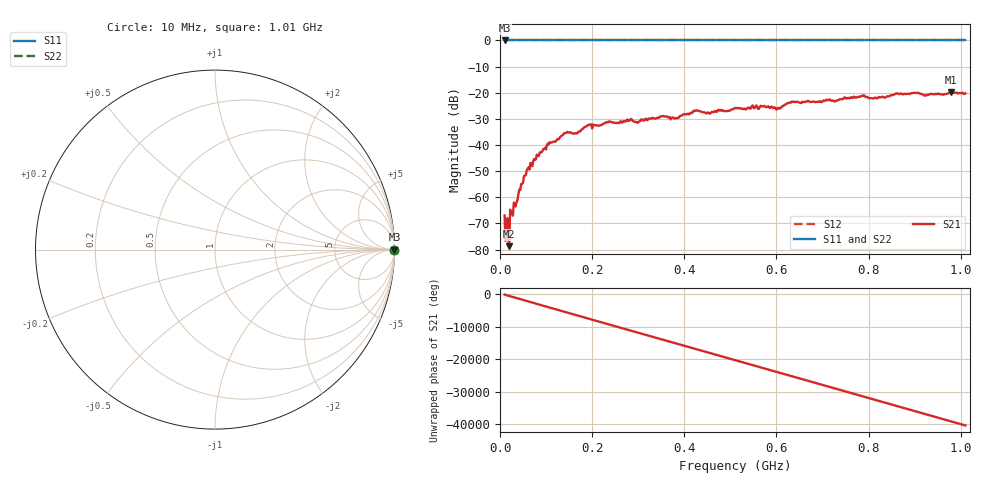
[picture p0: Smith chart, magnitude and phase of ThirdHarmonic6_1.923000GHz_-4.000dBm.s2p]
! 8/16/2025 11:10:57 PM
! C:\ANRITSUVNA\TEMP\TEMP.S2P
! CHANNEL.1
! TR.MEASUREMENT
! RAW.DATA
! RF.CORRECTION.OFF
! AVERAGING.OFF
! IF.BANDWIDTH: 5KHZ
! SWEEPTYPE:  FREQ.SWEEP(Linear)
! Reference Plane Port Info
! PORT:  PORT1  PORT2
! DISTANCE:  0  m  0  m
! TIME:  0  s  0  s
! PHASE.OFFSET:  0  deg.  0  deg.
! LOSS:  0  dB  0  dB
! REF.LOSS:  0  dB  0  dB
! REF.FREQ:  0  Hz  0  Hz
! Power Info
! POWER:  -20  dBm  -20  dBm
! EFF.POWER:  -20  dBm  -20  dBm
! SOURCE.ATTEN:  0  dB  0  dB
! TEST.ATTEN:  0  dB  0  dB
# GHZ S RI R 50.0
! FREQ.GHZ  S11RE  S11IM  S21RE  S21IM  S12RE  S12IM  S22RE  S22IM
!; PortSelection: Port_12
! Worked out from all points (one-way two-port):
!   501 points, 10 MHz to 1.01 GHz, reference 50 ohm
!   highest |S21| = -19.81 dB at 978 MHz (marker M1); lowest = -78.7 dB at 20 MHz (marker M2)
!   lowest |S11| = 0.0 dB at 10 MHz (marker M3)
!   |S11| at or under -10 dB: nowhere
!   |S22| runs from 0.0 to 0.0 dB; largest |S21 - S12| = 1.1
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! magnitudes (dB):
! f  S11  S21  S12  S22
! 10 MHz  0.0  -66.9  0.0  0.0
! 12 MHz  0.0  -76.7  0.0  0.0
! 16 MHz  0.0  -68.0  0.0  0.0
! 20 MHz  0.0  -78.7  0.0  0.0
! 24 MHz  0.0  -65.6  0.0  0.0
! 26 MHz  0.0  -65.6  0.0  0.0
! 36 MHz  0.0  -61.9  0.0  0.0
! 56 MHz  0.0  -51.6  0.0  0.0
! 76 MHz  0.0  -45.7  0.0  0.0
! 106 MHz  0.0  -39.7  0.0  0.0
! 142 MHz  0.0  -35.5  0.0  0.0
! 178 MHz  0.0  -34.0  0.0  0.0
! 194 MHz  0.0  -32.2  0.0  0.0
! 344 MHz  0.0  -29.7  0.0  0.0
! 382 MHz  0.0  -29.7  0.0  0.0
! 510 MHz  0.0  -25.9  0.0  0.0
! 604 MHz  0.0  -25.8  0.0  0.0
! 634 MHz  0.0  -23.4  0.0  0.0
! 678 MHz  0.0  -23.4  0.0  0.0
! 844 MHz  0.0  -21.4  0.0  0.0
! 978 MHz  0.0  -19.8  0.0  0.0
! 1.01 GHz  0.0  -20.3  0.0  0.0
